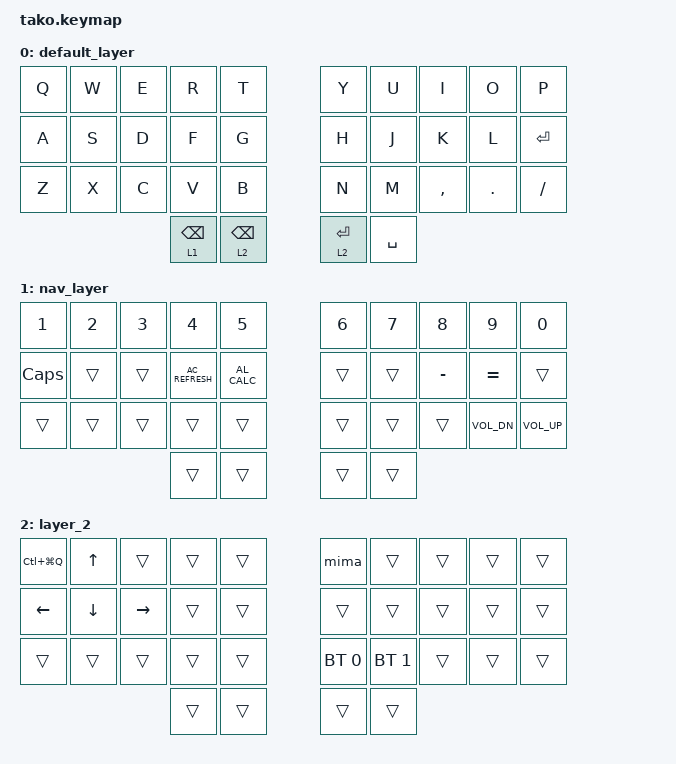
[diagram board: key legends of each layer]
/*
 * Copyright (c) 2020 The ZMK Contributors
 *
 * SPDX-License-Identifier: MIT
 */

#include <behaviors.dtsi>
#include <dt-bindings/zmk/bt.h>
#include <dt-bindings/zmk/keys.h>

#define NAV_L 1
#define OTHER_L 2
#define NUM_L 3
#define SYM_L 4

// Using layer taps on thumbs, having quick tap as well helps w/ repeating space/backspace

&lt {
    quick_tap_ms = <200>;
    flavor = "tap-preferred";
};

/ {
    behaviors {
        hm: homerow_mods {
            compatible = "zmk,behavior-hold-tap";
            label = "homerow mods";
            #binding-cells = <2>;
            tapping_term_ms = <200>;
            flavor = "tap-preferred";
            bindings = <&kp>, <&kp>;
        };
    };

    combos {
        compatible = "zmk,combos";

        esc {
            bindings = <&kp ESC>;
            key-positions = <0 1>;
        };

        tab {
            bindings = <&kp TAB>;
            key-positions = <10 11>;
        };

        ctrl {
            bindings = <&kp LCTRL>;
            key-positions = <11 12>;
        };

        alt {
            bindings = <&kp LEFT_ALT>;
            key-positions = <12 13>;
        };

        btqingchu {
            bindings = <&bt BT_CLR>;
            key-positions = <1 0 8 9>;
        };

        shift {
            bindings = <&kp LEFT_SHIFT>;
            key-positions = <20 21>;
        };

        rshift {
            bindings = <&kp RSHIFT>;
            key-positions = <28 29>;
        };

        caps {
            bindings = <&kp CAPSLOCK>;
            key-positions = <2 3>;
        };
    };

    macros {
        mima: mima {
            compatible = "zmk,behavior-macro";
            #binding-cells = <0>;
            bindings = <&none &kp N1 &kp N5 &kp N0 &kp N5 &kp N0 &kp N7>;
            label = "MIMA";
        };
    };

    keymap {
        compatible = "zmk,keymap";

        default_layer {
            bindings = <
&kp Q  &kp W  &kp E  &kp R       &kp T              &kp Y        &kp U      &kp I      &kp O    &kp P
&kp A  &kp S  &kp D  &kp F       &kp G              &kp H        &kp J      &kp K      &kp L    &kp ENTER
&kp Z  &kp X  &kp C  &kp V       &kp B              &kp N        &kp M      &kp COMMA  &kp DOT  &kp SLASH
                     &lt 1 BSPC  &lt 2 BACKSPACE    &lt 2 ENTER  &kp SPACE
            >;
        };

        nav_layer {
            bindings = <
&kp NUMBER_1  &kp NUMBER_2  &kp NUMBER_3  &kp NUMBER_4      &kp N5           &kp NUMBER_6  &kp N7  &kp N8     &kp N9        &kp N0
&kp CAPS      &trans        &trans        &kp C_AC_REFRESH  &kp C_AL_CALC    &trans        &trans  &kp MINUS  &kp EQUAL     &trans
&trans        &trans        &trans        &trans            &trans           &trans        &trans  &trans     &kp C_VOL_DN  &kp C_VOL_UP
                                          &trans            &trans           &trans        &trans
            >;
        };

        layer_2 {
            bindings = <
&kp LC(LG(Q))  &kp UP_ARROW  &trans     &trans  &trans    &mima         &trans        &trans  &trans  &trans
&kp LEFT       &kp DOWN      &kp RIGHT  &trans  &trans    &trans        &trans        &trans  &trans  &trans
&trans         &trans        &trans     &trans  &trans    &bt BT_SEL 0  &bt BT_SEL 1  &trans  &trans  &trans
                                        &trans  &trans    &trans        &trans
            >;
        };
    };
};
